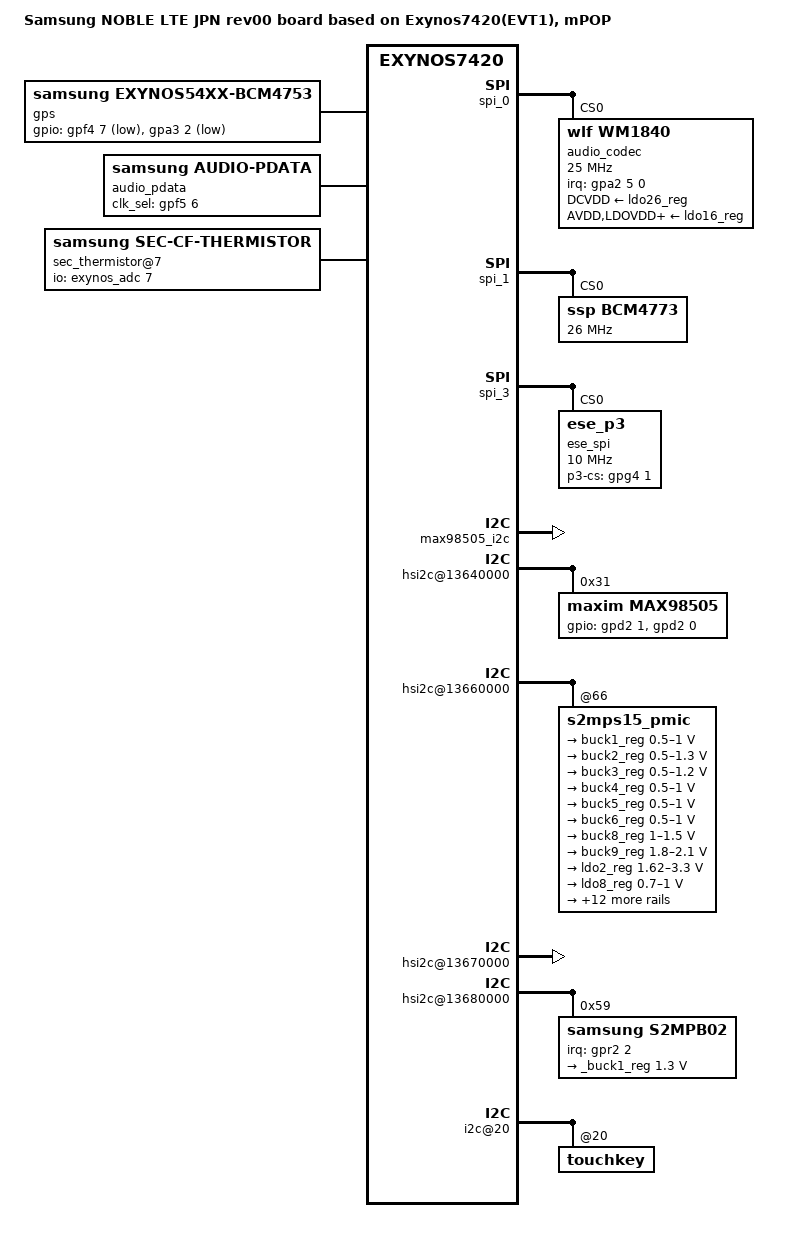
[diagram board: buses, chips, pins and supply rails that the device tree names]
/*
 * SAMSUNG UNIVERSAL7420 board device tree source
 *
 * Copyright (c) 2014 Samsung Electronics Co., Ltd.
 *		http://www.samsung.com
 *
 * This program is free software; you can redistribute it and/or modify
 * it under the terms of the GNU General Public License version 2 as
 * published by the Free Software Foundation.
*/

/dts-v1/;
#include "exynos7420-noble_common.dtsi"
#include "exynos7420-noblelte_jpn_battery_01.dtsi"
#include "exynos7420-noblelte_gpio_jpn_00.dtsi"
#include "exynos7420-noblelte_modem-shannon_ds.dtsi"
#include "exynos7420-noblelte_fingerprint-sensor_00.dtsi"
#include "exynos7420-noblelte_motor.dtsi"
#include "exynos7420-noblelte_svcled.dtsi"
#include "exynos7420-noblelte_mst.dtsi"
#include "exynos7420-noblelte_display_00.dtsi"
#include "exynos7420-noblelte_jpn-isdbt-00.dtsi"

/ {
	model = "Samsung NOBLE LTE JPN rev00 board based on Exynos7420(EVT1), mPOP";
	model_info-chip = <7420>;
	model_info-platform = "android";
	model_info-subtype = "samsung";
	model_info-hw_rev = <0>;
	model_info-hw_rev_end = <0>;
	compatible = "samsung,NOBLE LTE JPN,rev00", "samsung,exynos7420";

	sound {
		samsung,audio-routing =
				"HP", "HPOUT1L",
				"HP", "HPOUT1R",
				"SPK", "HiFi Playback",
				"RCV", "HPOUT3L",
				"RCV", "HPOUT3R",
				"Main Mic", "MICBIAS1",
				"IN1AL", "Main Mic",
				"Headset Mic", "MICBIAS2",
				"IN2BL", "Headset Mic",
				"Sub Mic", "MICBIAS3",
				"IN3L", "Sub Mic",
				"Third Mic", "MICBIAS4",
				"IN4L", "Third Mic",
				"HiFi Capture", "VI SENSING",
				"IN3L", "FM In",
				"IN3R", "FM In";

		pinctrl-names = "default";
		pinctrl-0 = <&audio_clk_sel>;
	};

	spi_0: spi@14d20000 {
		/delete-property/ dma-mode;
		/delete-property/ dmas;
		/delete-property/ dma-names;

		num-cs = <1>;
		status = "okay";

		audio_codec: wm1840@0 {
			compatible = "wlf,wm1840";
			reg = <0x0>;
			spi-max-frequency = <25000000>;
			interrupts = <5 0 0>;
			interrupt-parent = <&gpa2>;

			gpio-controller;
			#gpio-cells = <2>;

			pinctrl-names ="default";
			pinctrl-0 = <&codec_reset &codec_irq>;

			wlf,reset = <&gpf4 0 0>;
			wlf,init-mic-delay = <30>;
			wlf,use-jd-gpio;
			wlf,micd-clamp-mode = <0x8>;
			wlf,micd-detect-debounce = <300>;
			wlf,micd-pol-gpio = <0>;
			wlf,micd-bias-start-time = <0x1>;
			wlf,micd-rate = <0x7>;
			wlf,micd-dbtime = <0x1>;
			wlf,micd-timeout = <1000>;
			wlf,micd-force-micbias;
			wlf,hpdet-moisture-imp = <2000>;
			wlf,hpdet-moisture-debounce = <40>;
			wlf,hpdet-channel = <1>;
			wlf,hpdet-ext-res = <33>;
			wlf,hpdet-short-circuit-imp = <3>;
			wlf,micd-ranges = <
				116 226
				173 582
				321 115
				752 114
				1257 217
			>;
			wlf,hs-mic = <3>;
			wlf,micd-configs = <
				0x0 2 0
			>;

			wlf,micbias1 = <1800 0 1 0 0>;
			wlf,micbias2 = <2800 0 1 0 0>;
			wlf,micbias3 = <1800 0 1 0 0>;
			wlf,micbias4 = <1800 0 1 0 0>;

			wlf,gpio-defaults = <
				0xffffffff 0xffffffff /* GPIO1 */
				0xffffffff 0xffffffff /* GPIO2 */
				0xffffffff 0xffffffff /* GPIO3 */
				0xffffffff 0xffffffff /* GPIO4 */
				0xffffffff 0xffffffff /* GPIO5 */
				0xffffffff 0xffffffff /* GPIO6 */
				0xffffffff 0xffffffff /* GPIO7 */
				0xffffffff 0xffffffff /* GPIO8 */
				0xffffffff 0xffffffff /* MIF1SCLK / GPIO9 */
				0xffffffff 0xffffffff /* MIF1SDA / GPIO10 */
				0xffffffff 0xffffffff /* MIF2SCLK / GPIO11 */
				0xffffffff 0xffffffff /* MIF2SDA / GPIO12 */
				0xffffffff 0xffffffff /* MIF3SCLK / GPIO13 */
				0xffffffff 0xffffffff /* MIF3SDA / GPIO14 */
				0x00002000 0x00006000 /* AIF1TXDAT / GPIO15 */
				0x00002000 0x00006000 /* AIF1BCLK / GPIO16 */
				0x00002000 0x00006000 /* AIF1RXDAT / GPIO17 */
				0x00002000 0x00006000 /* AIF1LRCLK / GPIO18 */
				0x00002000 0x00006000 /* AIF2TXDAT / GPIO19 */
				0x00002000 0x00006000 /* AIF2BCLK / GPIO20 */
				0x00002000 0x00006000 /* AIF2RXDAT / GPIO21 */
				0x00002000 0x00006000 /* AIF2LRCLK / GPIO22 */
				0x00002000 0x00006000 /* AIF3TXDAT / GPIO23 */
				0x00002000 0x00006000 /* AIF3BCLK / GPIO24 */
				0x00002000 0x00006000 /* AIF3RXDAT / GPIO25 */
				0x00002000 0x00006000 /* AIF3LRCLK / GPIO26 */
				0x00002000 0x00006000 /* AIF4TXDAT / GPIO27 */
				0x00002000 0x00006000 /* AIF4BCLK / GPIO28 */
				0x00002000 0x00006000 /* AIF4RXDAT / GPIO29 */
				0x00002000 0x00006000 /* AIF4LRCLK / GPIO30 */
				0x00002000 0x0000e000 /* DMICCLK4 / GPIO31 */
				0x00002000 0x0000e000 /* DMICDAT4 / GPIO32 */
				0xffffffff 0xffffffff /* DMICCLK5 / GPIO33 */
				0xffffffff 0xffffffff /* DMICDAT5 / GPIO34 */
				0xffffffff 0xffffffff /* DMICCLK6 / GPIO35 */
				0xffffffff 0xffffffff /* DMICDAT6 / GPIO36 */
				0xffffffff 0xffffffff /* SPKCLK1 / GPIO37 */
				0xffffffff 0xffffffff /* SPKCLK2 / GPIO38 */
				0xffffffff 0xffffffff /* SPKDAT1 / GPIO39 */
				0xffffffff 0xffffffff /* SPKDAT2 / GPIO40 */
			>;

			wlf,gpsw = <0x3>;
			wlf,micd-software-compare;
			wlf,antenna-supported;
			wlf,antenna-manual-db-plugout = <1>;
			wlf,antenna-hp-imp-range-lo = <5>;
			wlf,antenna-hp-imp-range-hi = <5>;
			wlf,micd-open-circuit-declare = <1>;
			wlf,jd-wake-time = <5000>;

			wlf,max-channels-clocked = <2 0 0 0>;
			/* 0:MICVDD 1:MICBIAS1 2:MICBIAS2 3:MICBIAS3 */
			wlf,dmic-ref = <1 2 3 0 0 0>;
			/* 1st cell:IN1L 2rd cell:IN1R 3nd cell:IN2L 4th cell:IN2R... 12th cell:IN6R */
			wlf,inmode = <2 2 0 0 2 2 2 2 0 0 0 0>;
			/* 1st cell:OUT1 2nd cell:OUT2 3rd cell:OUT3... 6th cell:OUT6 */
			wlf,out-mono = <0 1 1 0 0 0>;

			wlf,rev-specific-fw;

			DCVDD-supply = <&ldo26_reg>;
			AVDD-supply = <&ldo16_reg>;
			LDOVDD-supply = <&ldo16_reg>;
			DBVDD1-supply = <&ldo16_reg>;

			CPVDD-supply = <&ldo16_reg>;
			DBVDD2-supply = <&ldo16_reg>;
			DBVDD3-supply = <&ldo16_reg>;
			DBVDD4-supply = <&ldo16_reg>;
			SPKVDDL-supply = <&ldo16_reg>;
			SPKVDDR-supply = <&ldo16_reg>;

			adsps {
				#address-cells = <1>;
				#size-cells = <0>;

				adsp@0FFE00 {
					reg = <0x0FFE00>;
					firmware {
						TRACE {
							wlf,wmfw-file = "trace";
							wlf,bin-file = "None";
							wlf,compr-caps = <1 8 0x4 1 8000 16000 24000>;
						};
					};
				};
				adsp@17FE00 {
					reg = <0x17FE00>;
					firmware {
						TX_NB {
							wlf,wmfw-file = "tx-nb";
							wlf,bin-file = "None";
						};
						TX_WB {
							wlf,wmfw-file = "tx-wb";
							wlf,bin-file = "None";
						};
						TX_SWB_INTERVIEW {
							wlf,wmfw-file = "tx-swb";
							wlf,bin-file = "None";
						};
						TX_SWB_CONVERSATION {
							wlf,wmfw-file = "tx-swb";
							wlf,bin-file = "None";
						};
						TX_FB_MEETING {
							wlf,wmfw-file = "tx-fb-meeting";
							wlf,bin-file = "tx-fb-meeting";
						};
					};
				};
				adsp@1FFE00 {
					reg = <0x1FFE00>;
					firmware {
						TX_NB {
							wlf,wmfw-file = "tx-nb";
							wlf,bin-file = "tx-nb";
						};
						TX_WB {
							wlf,wmfw-file = "tx-wb";
							wlf,bin-file = "tx-wb";
						};
						TX_SWB_INTERVIEW {
							wlf,wmfw-file = "tx-swb";
							wlf,bin-file = "tx-swb-interview";
						};
						TX_SWB_CONVERSATION {
							wlf,wmfw-file = "tx-swb";
							wlf,bin-file = "tx-swb-conversation";
						};
						TX_WB_MEETING {
							wlf,wmfw-file = "tx-wb-meeting";
							wlf,bin-file = "tx-wb-meeting";
						};
					};
				};
				adsp@27FE00 {
					reg = <0x27FE00>;
					firmware {
						RX_NB {
							wlf,wmfw-file = "rx-anc-nb";
							wlf,bin-file = "rx-anc-nb";
						};
						RX_WB {
							wlf,wmfw-file = "rx-anc-wb";
							wlf,bin-file = "rx-anc-wb";
						};
					};
				};
				adsp@37FE00 {
					reg = <0x37FE00>;
					firmware {
						VOICECONTROL {
							wlf,wmfw-file = "ez2-control";
							wlf,bin-file = "ez2-control";
							wlf,compr-caps = <1 1 0x4 1 16000>;
						};
						LPSD {
							wlf,wmfw-file = "ez2-control";
							wlf,bin-file = "lpsd-control";
						};
					};
				};
				adsp@2FFE00 {
					reg = <0x2FFE00>;
					firmware {
						DSM {
							wlf,wmfw-file = "dsm";
							wlf,bin-file = "None";
						};
					};
				};
			};
			controller-data {
				cs-gpio = <&gpd8 1 0>;
				samsung,spi-feedback-delay = <0>;
			};
		};
	};

	spi_1: spi@14d30000 {
		#address-cells = <1>;
		#size-cells = <0>;

		pinctrl-names = "default";
		pinctrl-0 = <&spi1_mosi_sck_ssn &spi1_miso>;

		num-cs = <1>;
		status = "okay";

		BCM4773@0 {
			compatible = "ssp,BCM4773";
			reg = <0>;
			spi-max-frequency = <26000000>;
			spi-cpol;
			spi-cpha;
			pinctrl-names = "default";
			pinctrl-0 = <&ssp_mcu_req &ssp_mcu_resp>;

			gpio-controller;
			#gpio-cells = <2>;
			ssp-host-req = <&gpa3 6 0x01>;
			ssp-mcu-req = <&gpf4 5 0x01>;
			ssp-mcu-resp = <&gpf4 4 0x00>;
			ssp-acc-position = <5>;
			ssp-mag-position = <5>;
			ssp-sns-combination = <0>;
			ssp,prox-hi_thresh = <2000>;
			ssp,prox-low_thresh = <1400>;
			ssp-ap-rev = <1>;
			ssp-mag-array = <10937 (-95) (-36) (-214) 8881 (-111) 552 2050 11006>; /* Only for YAS537 */
			ssp-hw-rev = <3>;
			ssp-glass-type = <0>;

			controller-data {
				cs-gpio = <&gpd6 3 0>;
				samsung,spi-feedback-delay = <0>;
				};
			};
	};

	gps {
		compatible = "samsung,exynos54xx-bcm4753";

		pinctrl-names = "default";
		pinctrl-0 = <&ssp_gps_pwr_en &ssp_host_wake>;

		gpios = <&gpf4 7 0x1
			      &gpa3 2 0xf
				>;
		status = "okay";
	};

	spi_3: spi@14d50000 {
		spiclk-pindev-name = "14c90000.pinctrl";
		spiclk-pin-name = "gpg4-0";
		status = "okay";
		#address-cells = <1>;
		#size-cells = <0>;
		pinctrl-names = "default","ese-pwoff","clk-fix","clk-recover","ese-disable";
		pinctrl-0 = <&spi3_bus>;
		pinctrl-1 = <&spi3_ese_pwoff>;
		pinctrl-2 = <&spi3_clk_fix>;
		pinctrl-3 = <&spi3_clk_recover>;
		pinctrl-4 = <&spi3_ese_disable>;
		samsung,ese-oberthur;

		ese_spi@0 {
			compatible = "ese_p3";
			reg = <0>;
			spi-max-frequency = <10000000>;

			gpio-controller;
			#gpio-cells = <2>;

			p3-mosipin = <21>;
			p3-misopin = <22>;
			p3-cspin = <23>;
			p3-clkpin = <24>;
			p3-cs-gpio = <&gpg4 1 0>;
			p3-vdd-1p8= "VDD_1.8V_ESE";

			controller-data {
				samsung,spi-chip-select-mode = <1>;
			};
		};
	};

	audio_pdata {
		compatible = "samsung,audio-pdata";
		clk_sel_gpio = <&gpf5 6 0>;
		seamless_voicewakeup;
		status = "okay";
	};

	antenna_switch {
		status = "okay";
		compatible = "antenna_switch";
		pinctrl-names = "default";
		pinctrl-0 = <&antenna_switch_en>;
		antenna_switch,gpio_antenna_switch = <&gpr3 6 0>;
	};

	pinctrl@10580000 {
		codec_irq: codec-irq {
			samsung,pins = "gpa2-5";
			samsung,pin-function = <0xf>;
			samsung,pin-pud = <0>;
		};
		max98505_ctrl: max98505-ctl {
			samsung,pins ="gpa2-0";
			samsung,pin-function = <0>;
			samsung,pin-pud = <0>;
			samsung,pin-con-pdn =<2>;
			samsung,pin-pud-pdn = <0>;
		};
		pcie1_eint: pcie1_eint {
			samsung,pins = "gpa3-5";
			samsung,pin-function = <0xf>;
			samsung,pin-pud = <0>;
			samsung,pin-con-pdn = <3>;
			samsung,pin-pud-pdn = <0>;
		};
		/* touchkey */
		sub_det: sub-det {
			samsung,pins = "gpa3-0";
			samsung,pin-function = <0>;
			samsung,pin-pud = <0>;
			samsung,pin-drv = <0>;
		};
	};

	pinctrl@13470000 {
		max98505_i2c: max98505-i2c {
			samsung,pins = "gpd2-0", "gpd2-1";
			samsung,pin-pud = <0>;
			status = "okay";
		};
	};

	pinctrl@14870000 {
		codec_reset: codec-reset {
			samsung,pins ="gpf4-0";
			samsung,pin-function = <1>;
			samsung,pin-pud = <1>;
			samsung,pin-con-pdn =<3>;
			samsung,pin-pud-pdn = <1>;
			samsung,pin-val = <0>;
		};
		audio_clk_sel: audio-clk-sel {
			samsung,pins ="gpf5-6";
			samsung,pin-function = <1>;
			samsung,pin-pud = <1>;
			samsung,pin-con-pdn =<3>;
			samsung,pin-pud-pdn = <1>;
			samsung,pin-val = <0>;
		};
	};

	pinctrl@15690000 {
		sub_pmic_irq: sub-pmic-irq {
			samsung,pins ="gpr2-2";
			samsung,pin-function = <0>;
			samsung,pin-pud = <0>;
			samsung,pin-drv = <0>;
		};		
		antenna_switch_en: antenna-switch-en {
                        samsung,pins = "gpr3-6";
                        samsung,pin-function = <1>;
                        samsung,pin-pud = <0>;
                        samsung,pin-val = <0>;
                };
		acokb_irq: acokb-irq {
			samsung,pins = "gpr1-2";
			samsung,pin-function = <0>;
			samsung,pin-pud = <0>;
			samsung,pin-drv = <0>;
		};
	};

	detectcable {
		status = "okay";
		compatible = "detectcable";
		pinctrl-names = "default";
		pinctrl-0 = <&acokb_irq>;
		acokb,gpio_detectcable = <&gpr1 2 0>;
	};

	pcie1@157B0000 {
		gpios = <&gpg2 0 0x1 /* PERST */>,
			<&gpa3 5 0x1 /* EINT */>;
		pinctrl-0 = <&pcie1_clkreq &pcie1_perst &pcie_wake &pcie1_reset_clear &cfg_wlanen &wlan_host_wake &pcie1_eint>;
		pinctrl-1 = <&pcie1_clkreq &pcie1_perst &pcie_wake &pcie1_reset &cfg_wlanen &wlan_host_wake &pcie1_eint>;
	};
			
	hsi2c@13640000 {
		status = "okay";
		max98505@31 {
			compatible = "maxim,max98505";
			reg = <0x31>;
			pinctrl-names = "default";
			pinctrl-0 = <&max98505_i2c &max98505_ctrl>;
			gpios = <&gpd2 1 0
				&gpd2 0 0
				>;
			i2c-gpio,delay-us = <2>;
			maxim,platform_type = <0>;
			maxim,spk_vol = <0x14>;
			maxim,sysclk = <12288000>;
			maxim,vmon_slot = <0>;
			maxim,platform_info = <0 0x4000 0x0F010203 0x0FF10203 0x00000000 40>;
			maxim,boost_step = <
								0x0F 0x0F 0x0F 0x0F
								0x0F 0x0F 0x0F 0x0F
								0x0F 0x0F 0x0F 0x0F
								0x0F 0x0F 0x02 0x00
								>;
			maxim,adc_threshold = <7>;
		};
	};

	hsi2c@13660000 {
		s2mps15_pmic@66 {
			regulators {
				buck1_reg: BUCK1 {
					regulator-name = "vdd_mif";
					regulator-min-microvolt = <500000>;
					regulator-max-microvolt = <1000000>;
					regulator-always-on;
					regulator-boot-on;
					regulator-ramp-delay = <12000>;
					regulator-initial-mode = <1>;
				};

				buck2_reg: BUCK2 {
					regulator-name = "vdd_atlas";
					regulator-min-microvolt = <500000>;
					regulator-max-microvolt = <1300000>;
					regulator-always-on;
					regulator-boot-on;
					regulator-ramp-delay = <12000>;
					regulator-initial-mode = <1>;
				};

				buck3_reg: BUCK3 {
					regulator-name = "vdd_apollo";
					regulator-min-microvolt = <500000>;
					regulator-max-microvolt = <1200000>;
					regulator-always-on;
					regulator-boot-on;
					regulator-ramp-delay = <12000>;
					regulator-initial-mode = <1>;
				};

				buck4_reg: BUCK4 {
					regulator-name = "vdd_int";
					regulator-min-microvolt = <500000>;
					regulator-max-microvolt = <1000000>;
					regulator-always-on;
					regulator-boot-on;
					regulator-ramp-delay = <12000>;
					regulator-initial-mode = <1>;
				};

				buck5_reg: BUCK5 {
					regulator-name = "vdd_disp_cam0";
					regulator-min-microvolt = <500000>;
					regulator-max-microvolt = <1000000>;
					regulator-always-on;
					regulator-boot-on;
					regulator-ramp-delay = <12000>;
					regulator-initial-mode = <1>;
				};

				buck6_reg: BUCK6 {
					regulator-name = "vdd_g3d";
					regulator-min-microvolt = <500000>;
					regulator-max-microvolt = <1000000>;
					regulator-always-on;
					regulator-boot-on;
					regulator-ramp-delay = <12000>;
					regulator-initial-mode = <1>;
				};

				buck8_reg: BUCK8 {
					regulator-name = "vdd_lldo";
					regulator-min-microvolt = <1000000>;
					regulator-max-microvolt = <1500000>;
					regulator-always-on;
					regulator-ramp-delay = <12000>;
					regulator-initial-mode = <3>;
				};

				buck9_reg: BUCK9 {
					regulator-name = "vdd_mldo";
					regulator-min-microvolt = <1800000>;
					regulator-max-microvolt = <2100000>;
					regulator-always-on;
					regulator-ramp-delay = <12000>;
					regulator-initial-mode = <3>;
				};

				ldo2_reg: LDO2 {
					regulator-name = "vqmmc";
					regulator-min-microvolt = <1620000>;
					regulator-max-microvolt = <3300000>;
					regulator-ramp-delay = <12000>;
					regulator-initial-mode = <1>;
					regulator-boot-on;
				};

				ldo8_reg: LDO8 {
					regulator-name = "vdd_ldo8";
					regulator-min-microvolt = <700000>;
					regulator-max-microvolt = <1000000>;
					regulator-always-on;
					regulator-initial-mode = <1>;
				};

				ldo15_reg: LDO15 {
					regulator-name = "tsp_io";
					regulator-min-microvolt = <1850000>;
					regulator-max-microvolt = <1850000>;
				};

				ldo16_reg: LDO16 {
					regulator-name = "VCC_1.8V_CODEC_PMIC";
					regulator-min-microvolt = <1800000>;
					regulator-max-microvolt = <1800000>;
				};

				ldo17_reg: LDO17 {
					regulator-name = "VCC_MOTOR_3.0";
					regulator-min-microvolt = <3000000>;
					regulator-max-microvolt = <3000000>;
				};

				ldo18_reg: LDO18 {
					regulator-name = "HRM_VDD_1.8V";
					regulator-min-microvolt = <1800000>;
					regulator-max-microvolt = <1850000>;
				};

				ldo19_reg: LDO19 {
					regulator-name = "MST_LEVEL_3.0V";
					regulator-min-microvolt = <3000000>;
					regulator-max-microvolt = <3000000>;
				};

				ldo20_reg: LDO20 {
					regulator-name = "VDD20_1P8_AP";
					regulator-min-microvolt = <1800000>;
					regulator-max-microvolt = <1800000>;
				};

				ldo21_reg: LDO21 {
					regulator-name = "vtouch_3.3v";
					regulator-min-microvolt = <3300000>;
					regulator-max-microvolt = <3300000>;
				};

				ldo22_reg: LDO22 {
					regulator-name = "VDD22_1P2_AP";
					regulator-min-microvolt = <1200000>;
					regulator-max-microvolt = <1200000>;
				};

				ldo23_reg: LDO23 {
					regulator-name = "VDD_1.8V_ESE";
					regulator-min-microvolt = <1800000>;
					regulator-max-microvolt = <1800000>;
				};

				ldo24_reg: LDO24 {
					regulator-name = "V_HRM_3.3V";
					regulator-min-microvolt = <3300000>;
					regulator-max-microvolt = <3350000>;
				};

				ldo25_reg: LDO25 {
					regulator-name = "PROX_LED_3.3V";
					regulator-min-microvolt = <3300000>;
					regulator-max-microvolt = <3300000>;
				};

				ldo26_reg: LDO26 {
					regulator-name = "VDD_1.2V_CODEC";
					regulator-min-microvolt = <1200000>;
					regulator-max-microvolt = <1200000>;
				};
			};
		};
	};

	hsi2c@13670000 {
		status = "okay";

		max77838@60 {
			status = "disabled";
		};
	};

	hsi2c@13680000 {
		status = "okay";

		s2mpb02@59 {
			compatible = "samsung,s2mpb02";
			reg = <0x59>;

			s2mpb02,irq-gpio = <&gpr2 2 0>;
			pinctrl-names = "default";
			pinctrl-0 = <&sub_pmic_irq>;

			regulators {
				_buck1_reg: s2mpb02-buck1 {
					regulator-name = "VDD_PB02_1P3";
					regulator-min-microvolt = <1300000>;
					regulator-max-microvolt = <1300000>;
					regulator-always-on;
					regulator-boot-on;
				};
			};
		};
	};

	i2c@20{
		touchkey@20 {
			abov,sub-det = <&gpa3 0 0>;
		};
	};

	dwmmc0@15740000 {
		status = "disabled";
	};

	dwmmc2@15560000 {
		vdd_vmmc-supply = <&ldo25_reg>;
		vqmmc-supply = <&ldo2_reg>;
	};

	simslot_count {
		status = "okay";
	};

	sec_thermistor@7 {
		compatible = "samsung,sec-cf-thermistor";
		status = "okay";

		adc_array = <215 224 234 243 253 262 271 281 290 300
			309 322 335 348 361 374 389 404 418 433
			448 465 482 499 516 533 553 573 594 614
			634 658 682 705 729 753 780 807 833 860
			887 918 948 979 1009 1040 1076 1112 1147 1183
			1219 1257 1295 1332 1370 1408 1448 1489 1529 1570
			1610 1653 1696 1739 1782 1825 1869 1913 1957 2001
			2045 2090 2134 2179 2223 2268 2310 2352 2395 2437
			2479 2520 2561 2601 2642 2683 2720 2757 2793 2830
			2867 2903 2939 2975 3011 3047 3077 3106 3136 3165
			3195 3221 3247 3274 3300 3326 3348 3370 3392 3414
			3436>;
		temp_array = <900 890 880 870 860 850 840 830 820 810
			800 790 780 770 760 750 740 730 720 710
			700 690 680 670 660 650 640 630 620 610
			600 590 580 570 560 550 540 530 520 510
			500 490 480 470 460 450 440 430 420 410
			400 390 380 370 360 350 340 330 320 310
			300 290 280 270 260 250 240 230 220 210
			200 190 180 170 160 150 140 130 120 110
			100 90 80 70 60 50 40 30 20 10
			0 (-10) (-20) (-30) (-40) (-50) (-60) (-70) (-80) (-90)
			(-100)(-110)(-120)(-130)(-140)(-150)(-160)(-170)(-180)(-190)
			(-200)>;

		io-channels = <&exynos_adc 7>;
		io-channel-names = "adc-cf-temp";
		io-channel-ranges;
	};
};
